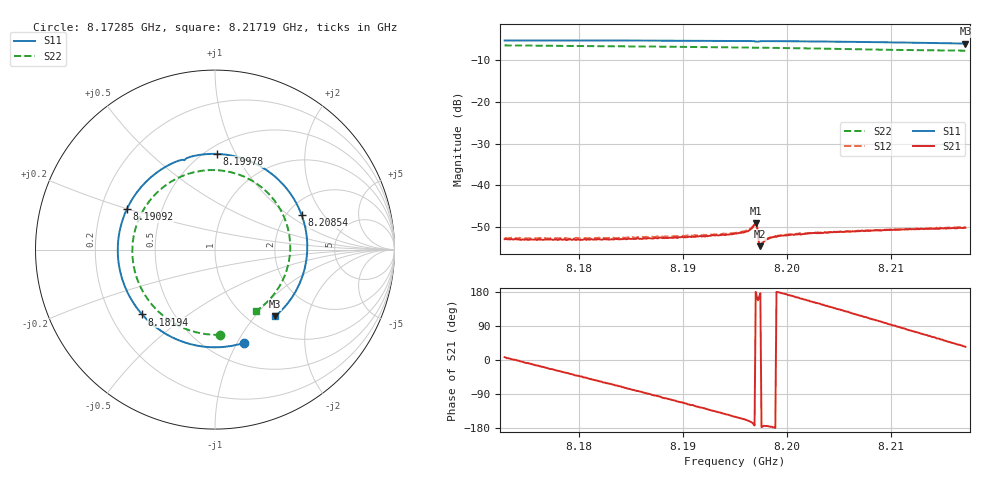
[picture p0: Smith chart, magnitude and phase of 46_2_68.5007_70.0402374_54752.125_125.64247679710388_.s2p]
#  HZ  S  RI  R  50.00
! Rohde & Schwarz Vector Network Analyzer
! Rohde-Schwarz,ZNB20-2Port,1311601062101988,3.16
! Created: UTC 3/20/2024, 5:05:47 PM
! freq[Hz]  re:S11  im:S11  re:S21  im:S21  re:S12  im:S12  re:S22  im:S22
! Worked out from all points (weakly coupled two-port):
!   401 points, 8.17285 GHz to 8.21719 GHz, reference 50 ohm
!   highest |S21| = -49.05 dB at 8.19701 GHz (marker M1); lowest = -54.5 dB at 8.19746 GHz (marker M2)
!   lowest |S11| = -6.0 dB at 8.21719 GHz (marker M3), VSWR 3.00, Z = 64.4 - j63.9 ohm
!   |S11| at or under -10 dB: nowhere
!   |S22| runs from -7.7 to -6.5 dB; largest |S21 - S12| = 0.0002
!   S11 on the Smith chart (normalised r, x): 8.17285 GHz: 0.73, -1.07; 8.18194 GHz: 0.33, -0.34; 8.19092 GHz: 0.31, +0.20; 8.19978 GHz: 0.56, +0.84; 8.20854 GHz: 2.40, +1.26; 8.21719 GHz: 1.29, -1.28
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8.17285e9  0.1637 -0.5192  0.00226 0.000294  0.00232 0.000306  0.0306 -0.4747
8.176508e9  -0.0838 -0.5378  0.00213 -0.000691  0.00221 -0.00073  -0.1729 -0.4381
8.180277e9  -0.3212 -0.4387  0.00163 -0.00154  0.00163 -0.00167  -0.3443 -0.3151
8.181939e9  -0.406 -0.3611  0.00128 -0.00188  0.00131 -0.00198  -0.3985 -0.2395
8.184932e9  -0.5108 -0.1831  0.000524 -0.00223  0.000524 -0.00233  -0.4544 -0.0833
8.187703e9  -0.5416 0.00682  -0.000252 -0.00235  -0.000288 -0.0024  -0.4539 0.0703
8.190917e9  -0.4916 0.2245  -0.00117 -0.00213  -0.00131 -0.00213  -0.3898 0.236
8.195018e9  -0.3068 0.4416  -0.0023 -0.00133  -0.00238 -0.00126  -0.2238 0.3903
8.196127e9  -0.2385 0.4807  -0.00263 -0.00103  -0.00274 -0.000958  -0.1672 0.4159
8.196903e9  -0.1844 0.4998  -0.00337 -0.000418  -0.00346 -0.000287  -0.1255 0.429
8.197013e9  -0.1761 0.5  -0.00353 2.78e-05  -0.00359 0.00016  -0.1193 0.4303
8.197457e9  -0.1566 0.5095  -0.00187 0.000128  -0.00188 0.000181  -0.0953 0.4358
8.197568e9  -0.1487 0.513  -0.00195 -9.87e-05  -0.002 -2.08e-05  -0.0891 0.4369
8.198565e9  -0.0778 0.5289  -0.00238 -0.000155  -0.0024 -4.79e-05  -0.0328 0.4429
8.199784e9  0.00863 0.5332  -0.00252 0.000241  -0.00254 0.000368  0.0363 0.4402
8.202445e9  0.1917 0.4941  -0.00242 0.0012  -0.00237 0.00127  0.1814 0.3972
8.205659e9  0.3773 0.3652  -0.00174 0.0022  -0.00168 0.00226  0.3256 0.2804
8.208541e9  0.4832 0.1912  -0.000761 0.0028  -0.000676 0.00284  0.4033 0.1294
8.209871e9  0.5073 0.0994  -0.000207 0.00292  -0.000193 0.00297  0.4176 0.0506
8.211644e9  0.5124 -0.0269  0.000536 0.00292  0.000605 0.00297  0.4132 -0.0571
8.213418e9  0.4859 -0.1512  0.00124 0.00277  0.00132 0.00275  0.3814 -0.1619
8.217186e9  0.3338 -0.3724  0.00256 0.00179  0.00262 0.00175  0.2284 -0.3416
